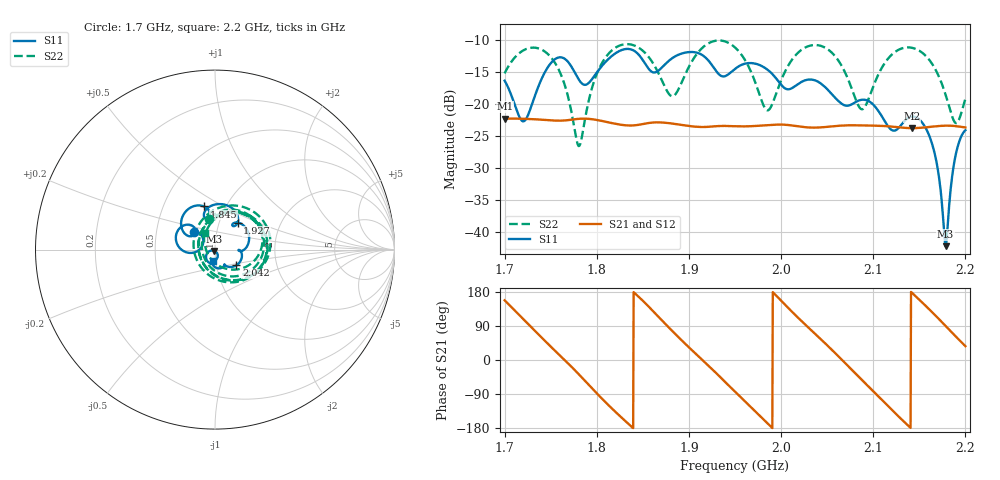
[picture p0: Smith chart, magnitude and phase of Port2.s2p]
# Hz S RI R 50
! CMT, CMT808U, 21440046, 21.4.3/4
! Date: 6/12/2026 9:24:27 AM
! Data: Format (Calibration Info)
! Freq	S11:Re/Im(F2)	S41:Re/Im(F2)	S14:Re/Im(F2)	S44:Re/Im(F2)
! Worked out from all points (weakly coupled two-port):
!   1001 points, 1.7 GHz to 2.2 GHz, reference 50 ohm
!   highest |S21| = -22.26 dB at 1.7 GHz (marker M1); lowest = -23.8 dB at 2.142 GHz (marker M2)
!   lowest |S11| = -42.3 dB at 2.179 GHz (marker M3), VSWR 1.02, Z = 49.7 - j0.694 ohm
!   |S11| at or under -10 dB: start of sweep to end of sweep
!   |S22| runs from -26.6 to -10.0 dB; largest |S21 - S12| = 0.0013
!   S11 on the Smith chart (normalised r, x): 1.7 GHz: 0.78, +0.16; 1.845 GHz: 0.79, +0.41; 1.927 GHz: 1.22, +0.38; 2.042 GHz: 1.25, -0.22; 2.2 GHz: 0.97, -0.12
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1.7e9  -0.1149 0.1007  -0.0713 0.0294  -0.0714 0.0282  -0.0325 0.1712
1.7005e9  -0.1121 0.1005  -0.0707 0.0309  -0.0708 0.0298  -0.0287 0.1749
1.721e9  -0.07 0.0224  -0.0213 0.0737  -0.0223 0.0731  0.1703 0.2036
1.746e9  -0.1901 0.00241  0.053 0.0531  0.052 0.0536  0.2501 -0.0154
1.7835e9  -0.1078 0.0985  0.054 -0.0548  0.0547 -0.0537  -0.0529 0.0093
1.807e9  -0.1778 0.1014  -0.0194 -0.0709  -0.0183 -0.0709  0.0699 0.2065
1.8445e9  -0.0624 0.2405  -0.0675 0.013  -0.0674 0.012  0.2695 -0.0746
1.867e9  -0.0545 0.1749  -0.0292 0.0658  -0.0301 0.0651  0.0257 -0.1727
1.8835e9  -0.0441 0.229  0.0209 0.067  0.0198 0.0671  -0.1153 -0.0136
1.9265e9  0.1256 0.1494  0.0595 -0.0306  0.0599 -0.0295  0.2596 0.1713
1.95e9  0.1141 0.1507  0.00756 -0.0667  0.00867 -0.0663  0.2608 -0.097
1.9855e9  0.1835 0.0281  -0.0668 -0.0149  -0.0664 -0.016  -0.0878 -0.0173
2.0105e9  0.132 -0.00154  -0.0444 0.0518  -0.0452 0.0509  0.0659 0.2056
2.0335e9  0.1426 -0.0621  0.0149 0.0638  0.0138 0.064  0.2771 0.0832
2.0415e9  0.1194 -0.0872  0.0342 0.0561  0.0332 0.0566  0.2882 -0.00533
2.0875e9  0.0386 -0.1011  0.0418 -0.0538  0.0426 -0.053  -0.0883 -0.0229
2.117e9  -0.0118 -0.0647  -0.0374 -0.0556  -0.0364 -0.0561  0.0953 0.211
2.142e9  -0.0263 -0.0754  -0.0648 0.00292  -0.0648 0.00178  0.2732 0.0415
2.1645e9  -0.043 -0.0192  -0.038 0.0548  -0.0389 0.0541  0.1454 -0.1427
2.1785e9  -0.00326 -0.00699  8.58e-06 0.0678  -0.00118 0.0678  -0.000749 -0.1186
2.189e9  0.0156 -0.0353  0.0301 0.0602  0.029 0.0607  -0.0667 -0.0257
2.2e9  -0.00899 -0.0618  0.0528 0.0391  0.052 0.04  -0.0578 0.0938
